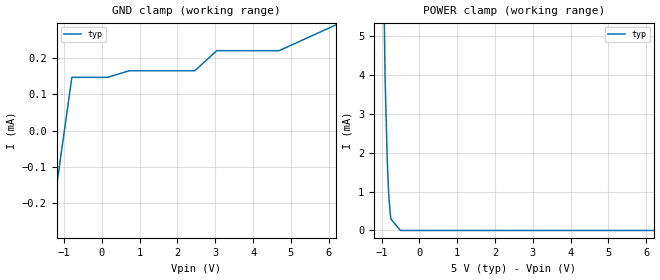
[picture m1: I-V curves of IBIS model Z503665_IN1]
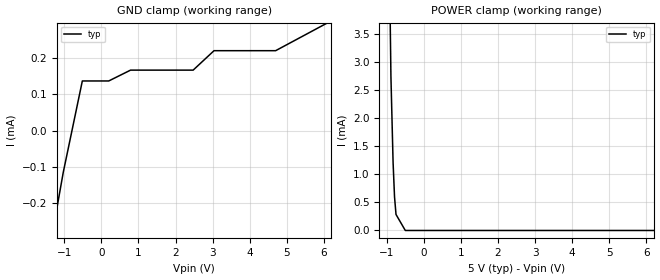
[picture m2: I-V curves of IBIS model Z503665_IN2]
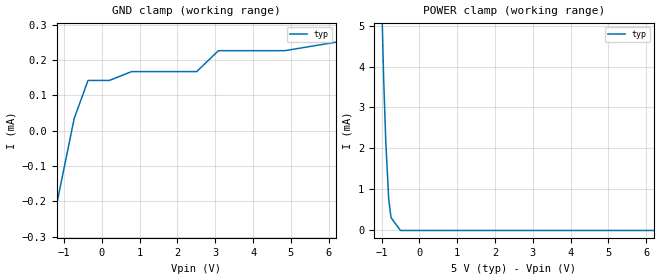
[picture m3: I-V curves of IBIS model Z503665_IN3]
| YOU ARE ONLY AUTHORIZED TO USE THIS SOFTWARE
| ACCORDING TO LICENSOR'S LICENSE RESTRICTIONS.
[IBIS Ver] 3.1
[File Name] mc14544bl.ibs
[File Rev] 2.0
[Source] Measured and created by ICX Technology
[Date] Friday 7/14/00 9:07:57 AM
[Copyright]
| (C) COPYRIGHT 1993-2000
| MENTOR GRAPHICS CORPORATION
| ICX STANDARD LIBRARY, ICX PROJECT MODELING,
| ICX CUSTOM MODELING, ICX VENDOR MODEL
| ALL RIGHTS RESERVED.
| THE FOLLOWING ARE TRADEMARKS OR SERVICE MARKS OF
| MENTOR GRAPHICS CORPORATION:ICX (R), ICX STANDARD
| LIBRARY(R), ICX PROJECT MODELING(R), ICX CUSTOM
| MODELING(R), qualityIBIS(TM), MODELVIEWER(TM),
| AND MODELEDITOR(TM)
| ALL COPIES OF SOFTWARE, INCLUDING BUT NOT LIMITED TO
| ANY MODIFICATIONS, ENHANCEMENTS OR DERIVATIVE WORKS,
| MUST CONTAIN ALL MENTOR GRAPHICS CORPORATION'S
| NOTICES AND LEGENDS, INCLUDING THOSE EMBEDDED IN
| SOFTWARE AND THOSE AFFIXED TO SOFTWARE MEDIUM
| AND CONTAINER, AS RECEIVED FROM MENTOR GRAPHICS
| CORPORATION.
|  ZAP Model Builder 2.7
[Component] MC14544BL
[Manufacturer] OnSemiconductor
[Package]
| variable   typ   min   max
R_pkg  .218ohms NA NA
L_pkg  6.092nH NA NA
C_pkg  2.302pF NA NA
[Pin] signal_name  model_name  R_pin  L_pin C_pin
1 LD Z503665_IN1 .232 9.759n 3.178p
2 C Z503665_IN1 .224 7.259n 2.685p
3 B Z503665_IN1 .216 5.259n 2.192p
4 D Z503665_IN1 .208 3.759n 1.699p
5 A Z503665_IN1 .2 2.759n 1.206p
6 PHASE Z503665_IN2 .208 3.759n 1.699p
7 BI Z503665_IN3 .216 5.259n 2.192p
8 RB_OUT Z503665_OUT4 .224 7.259n 2.685p
9 VSS GND .232 9.759n 3.178p
10 RB_IN Z503665_IN5 .232 9.759n 3.178p
11 a Z503665_OUT6 .224 7.259n 2.685p
12 b Z503665_OUT6 .216 5.259n 2.192p
13 c Z503665_OUT6 .208 3.759n 1.699p
14 d Z503665_OUT6 .2 2.759n 1.206p
15 e Z503665_OUT6 .208 3.759n 1.699p
16 g Z503665_OUT6 .216 5.259n 2.192p
17 f Z503665_OUT6 .224 7.259n 2.685p
18 VDD POWER .232 9.759n 3.178p
| Models and submodels in the file (6): Z503665_IN1 (Input), Z503665_IN2 (Input), Z503665_IN3 (Input), Z503665_IN5 (Input), Z503665_OUT4 (Output), Z503665_OUT6 (Output)
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| (C) COPYRIGHT 1993-2000
| MENTOR GRAPHICS CORPORATION
| ICX STANDARD LIBRARY, ICX PROJECT MODELING,
| ICX CUSTOM MODELING, ICX VENDOR MODEL
| ALL RIGHTS RESERVED.
| THE FOLLOWING ARE TRADEMARKS OR SERVICE MARKS OF
| MENTOR GRAPHICS CORPORATION:ICX (R), ICX STANDARD
| LIBRARY(R), ICX PROJECT MODELING(R), ICX CUSTOM
| MODELING(R), qualityIBIS(TM), MODELVIEWER(TM),
| AND MODELEDITOR(TM)
| ALL COPIES OF SOFTWARE, INCLUDING BUT NOT LIMITED TO
| ANY MODIFICATIONS, ENHANCEMENTS OR DERIVATIVE WORKS,
| MUST CONTAIN ALL MENTOR GRAPHICS CORPORATION'S
| NOTICES AND LEGENDS, INCLUDING THOSE EMBEDDED IN
| SOFTWARE AND THOSE AFFIXED TO SOFTWARE MEDIUM
| AND CONTAINER, AS RECEIVED FROM MENTOR GRAPHICS
| CORPORATION.
| Model Application Version 1.89 2/18/99.
[Model] Z503665_IN1
Model_type Input
Vinl = 1.500V
Vinh = 3.500V
C_comp 4.000pF NA NA
| variable typ   min   max
[Voltage Range] 5.000V NA NA
[GND Clamp Reference] 0.000V NA NA
[POWER Clamp Reference] 5.000V NA NA
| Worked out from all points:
|   POWER clamp passes 1 mA (typ) near -0.81 V on its own axis
[GND Clamp]
-5V       -2.99mA    NA         NA
-794mV    147.4uA    NA         NA
156.7mV   147.4uA    NA         NA
723.6mV   165.7uA    NA         NA
2.459V    165.7uA    NA         NA
3.038V    221.2uA    NA         NA
4.686V    221.2uA    NA         NA
10V       473.7uA    NA         NA
[POWER Clamp]
-5V       744.6mA    NA         NA
-1.211V   38.83mA    NA         NA
-1.055V   16.56mA    NA         NA
-1.002V   10.82mA    NA         NA
-908mV    3.96mA     NA         NA
-850mV    1.795mA    NA         NA
-812mV    935.3uA    NA         NA
-771mV    427.3uA    NA         NA
-752mV    293.6uA    NA         NA
-501.3mV  0A         NA         NA
10V       0A         NA         NA
| (C) COPYRIGHT 1993-2000
| MENTOR GRAPHICS CORPORATION
| ICX STANDARD LIBRARY, ICX PROJECT MODELING,
| ICX CUSTOM MODELING, ICX VENDOR MODEL
| ALL RIGHTS RESERVED.
| THE FOLLOWING ARE TRADEMARKS OR SERVICE MARKS OF
| MENTOR GRAPHICS CORPORATION:ICX (R), ICX STANDARD
| LIBRARY(R), ICX PROJECT MODELING(R), ICX CUSTOM
| MODELING(R), qualityIBIS(TM), MODELVIEWER(TM),
| AND MODELEDITOR(TM)
| ALL COPIES OF SOFTWARE, INCLUDING BUT NOT LIMITED TO
| ANY MODIFICATIONS, ENHANCEMENTS OR DERIVATIVE WORKS,
| MUST CONTAIN ALL MENTOR GRAPHICS CORPORATION'S
| NOTICES AND LEGENDS, INCLUDING THOSE EMBEDDED IN
| SOFTWARE AND THOSE AFFIXED TO SOFTWARE MEDIUM
| AND CONTAINER, AS RECEIVED FROM MENTOR GRAPHICS
| CORPORATION.
| Model Application Version 1.89 2/18/99.
[Model] Z503665_IN2
Model_type Input
Vinl = 1.500V
Vinh = 3.500V
C_comp 4.000pF NA NA
| variable typ   min   max
[Voltage Range] 5.000V NA NA
[GND Clamp Reference] 0.000V NA NA
[POWER Clamp Reference] 5.000V NA NA
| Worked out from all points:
|   POWER clamp passes 1 mA (typ) near -0.82 V on its own axis
[GND Clamp]
-5V       -2.401mA   NA         NA
-1.028V   -115uA     NA         NA
-514mV    136.7uA    NA         NA
198.1mV   136.7uA    NA         NA
786.7mV   166.6uA    NA         NA
2.475V    166.6uA    NA         NA
3.038V    220.2uA    NA         NA
4.7V      220.2uA    NA         NA
10V       511uA      NA         NA
[POWER Clamp]
-5V       413.7mA    NA         NA
-1.188V   23.51mA    NA         NA
-1.005V   8.601mA    NA         NA
-889mV    2.745mA    NA         NA
-831mV    1.215mA    NA         NA
-792mV    600uA      NA         NA
-752mV    285.9uA    NA         NA
-501.3mV  0A         NA         NA
10V       0A         NA         NA
| (C) COPYRIGHT 1993-2000
| MENTOR GRAPHICS CORPORATION
| ICX STANDARD LIBRARY, ICX PROJECT MODELING,
| ICX CUSTOM MODELING, ICX VENDOR MODEL
| ALL RIGHTS RESERVED.
| THE FOLLOWING ARE TRADEMARKS OR SERVICE MARKS OF
| MENTOR GRAPHICS CORPORATION:ICX (R), ICX STANDARD
| LIBRARY(R), ICX PROJECT MODELING(R), ICX CUSTOM
| MODELING(R), qualityIBIS(TM), MODELVIEWER(TM),
| AND MODELEDITOR(TM)
| ALL COPIES OF SOFTWARE, INCLUDING BUT NOT LIMITED TO
| ANY MODIFICATIONS, ENHANCEMENTS OR DERIVATIVE WORKS,
| MUST CONTAIN ALL MENTOR GRAPHICS CORPORATION'S
| NOTICES AND LEGENDS, INCLUDING THOSE EMBEDDED IN
| SOFTWARE AND THOSE AFFIXED TO SOFTWARE MEDIUM
| AND CONTAINER, AS RECEIVED FROM MENTOR GRAPHICS
| CORPORATION.
| Model Application Version 1.89 2/18/99.
[Model] Z503665_IN3
Model_type Input
Vinl = 1.500V
Vinh = 3.500V
C_comp 4.000pF NA NA
| variable typ   min   max
[Voltage Range] 5.000V NA NA
[GND Clamp Reference] 0.000V NA NA
[POWER Clamp Reference] 5.000V NA NA
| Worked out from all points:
|   POWER clamp passes 1 mA (typ) near -0.82 V on its own axis
[GND Clamp]
-5V       -2.207mA   NA         NA
-732.3mV  34.39uA    NA         NA
-366.1mV  141.8uA    NA         NA
198mV     141.8uA    NA         NA
786.6mV   166.8uA    NA         NA
2.508V    166.8uA    NA         NA
3.082V    226uA      NA         NA
4.836V    226uA      NA         NA
10V       317.9uA    NA         NA
[POWER Clamp]
-5V       264.1mA    NA         NA
-1.216V   16.13mA    NA         NA
-1.045V   7.438mA    NA         NA
-947mV    3.751mA    NA         NA
-889mV    2.165mA    NA         NA
-812mV    772.6uA    NA         NA
-751mV    313.9uA    NA         NA
-500.7mV  0A         NA         NA
10V       0A         NA         NA
